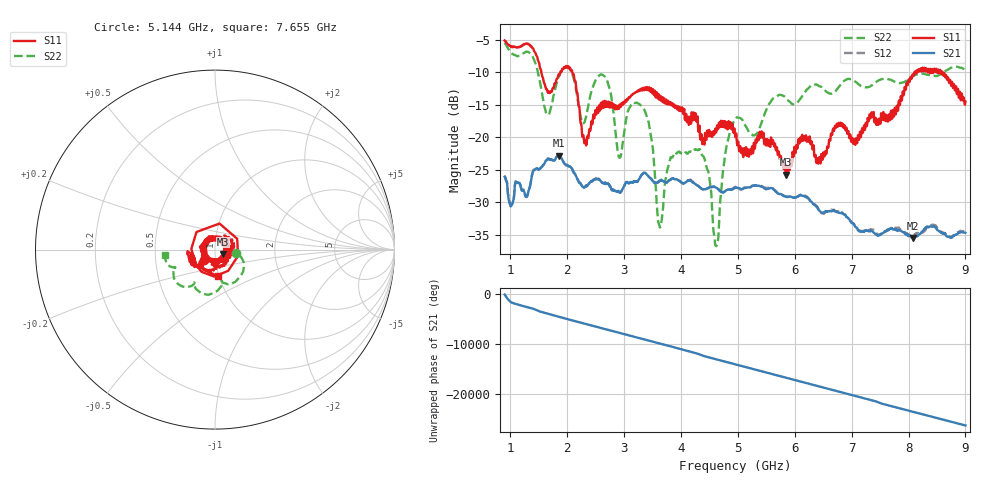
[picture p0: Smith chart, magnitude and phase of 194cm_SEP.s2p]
!Keysight Technologies N9915A: A.10.33
!Date: Friday, 08 May 2020 14:23:05
!Timezone: (UTC+08:00) Perth
!Model: N9915A
!Serial: MY53102697
!GPS Latitude:
!GPS Longitude:
!GPS TimeStamp: 0001-01-01 00:00:00Z
!GPS Seconds Since Last Read: 0
!CHECKSUM:0411523641
!Correction: S11(ON U?)S21(ON U?)S12(ON U?)S22(ON U?)
!S2P File: Measurements:S11,S21,S12,S22:
# Hz S DB R 50
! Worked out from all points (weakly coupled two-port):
!   1001 points, 900 MHz to 9 GHz, reference 50 ohm
!   highest |S21| = -22.82 dB at 1.856 GHz (marker M1); lowest = -35.4 dB at 8.085 GHz (marker M2)
!   lowest |S11| = -25.7 dB at 5.841 GHz (marker M3), VSWR 1.11, Z = 54.7 - j2.71 ohm
!   |S11| at or under -10 dB: 1.546 GHz to 1.877 GHz (331.2 MHz wide, 19.4 % of centre); 2.091 GHz to 8.104 GHz (6.014 GHz wide, 118 % of centre); 8.597 GHz to end of sweep (the widest 3 of 12)
!   |S22| runs from -36.7 to -5.5 dB; largest |S21 - S12| = 0.0012
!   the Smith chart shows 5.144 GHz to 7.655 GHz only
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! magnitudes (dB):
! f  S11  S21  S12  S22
! 900 MHz  -5.1  -26.0  -25.9  -5.5
! 1.378 GHz  -6.1  -26.0  -25.9  -7.3
! 1.653 GHz  -13.0  -23.4  -23.4  -16.5
! 1.856 GHz  -10.4  -22.8  -22.8  -10.6
! 2.083 GHz  -9.7  -24.8  -24.8  -10.1
! 2.253 GHz  -18.3  -27.3  -27.3  -17.4
! 2.642 GHz  -15.5  -27.1  -27.0  -10.5
! 2.925 GHz  -15.0  -28.4  -28.5  -23.1
! 3.322 GHz  -12.8  -25.7  -25.6  -15.3
! 3.476 GHz  -12.4  -26.3  -26.3  -20.0
! 3.605 GHz  -13.3  -26.9  -26.8  -33.1
! 3.84 GHz  -14.8  -26.3  -26.3  -23.1
! 4.31 GHz  -19.1  -27.5  -27.5  -21.9
! 4.488 GHz  -19.2  -27.8  -27.8  -25.7
! 4.618 GHz  -19.2  -27.7  -27.7  -36.7
! 4.78 GHz  -18.4  -28.2  -28.3  -22.5
! 4.95 GHz  -19.6  -27.8  -27.6  -17.3
! 5.841 GHz  -25.7  -29.1  -29.1  -13.9
! 6.303 GHz  -20.8  -30.0  -30.0  -11.9
! 7.655 GHz  -16.5  -34.1  -34.1  -11.1
! 8.085 GHz  -10.5  -35.4  -35.2  -10.5
! 9 GHz  -14.5  -34.7  -34.4  -9.6
